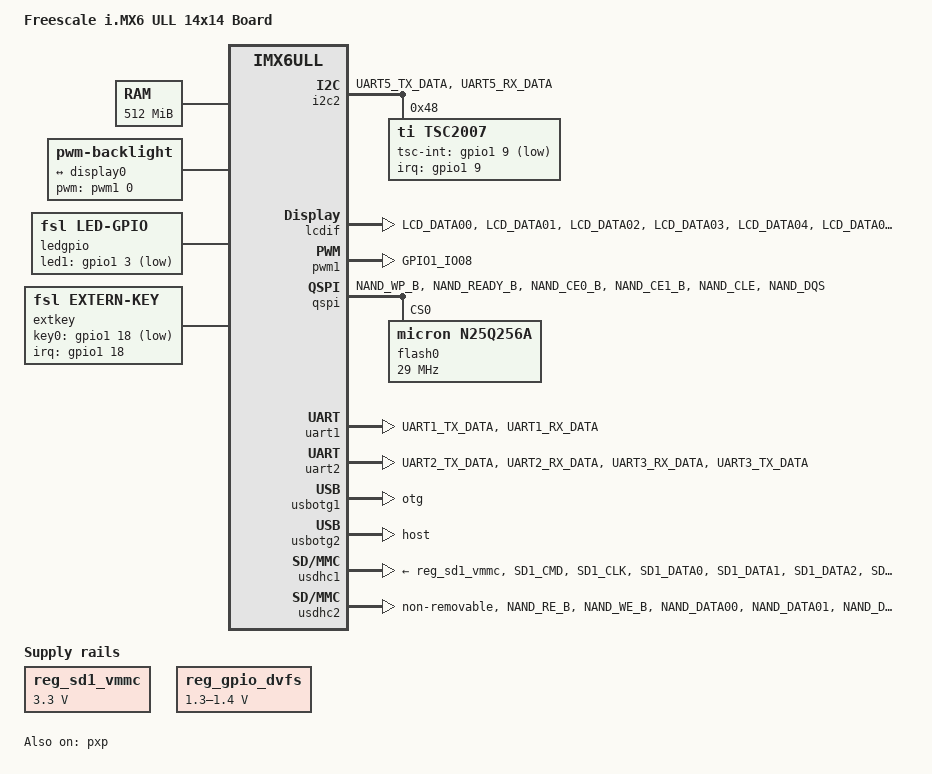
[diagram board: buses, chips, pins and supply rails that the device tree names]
/*
 * Copyright (C) 2016 Freescale Semiconductor, Inc.
 *
 * This program is free software; you can redistribute it and/or modify
 * it under the terms of the GNU General Public License version 2 as
 * published by the Free Software Foundation.
 *
 * modified by Yang Yujun <2024.05.19, for HeavenFox OS>
 */

/dts-v1/;

#include <dt-bindings/input/input.h>
#include "imx6ull.dtsi"

/ {
	model = "Freescale i.MX6 ULL 14x14 Board";
	compatible = "fsl,imx6ull-topeet", "fsl,imx6ull";

	chosen {
		stdout-path = &uart1;
	};

	memory {
		reg = <0x80000000 0x20000000>;
	};

	reserved-memory {
		#address-cells = <1>;
		#size-cells = <1>;
		ranges;

		linux,cma {
			compatible = "shared-dma-pool";
			reusable;
			size = <0x14000000>;
			linux,cma-default;
		};
	};

	regulators {
		compatible = "simple-bus";
		#address-cells = <1>;
		#size-cells = <0>;

		reg_sd1_vmmc: regulator@1 {
			compatible = "regulator-fixed";
			regulator-name = "VSD_3V3";
			regulator-min-microvolt = <3300000>;
			regulator-max-microvolt = <3300000>;
			/* gpio = <&gpio1 9 GPIO_ACTIVE_HIGH>; */
			enable-active-high;
		};

		reg_gpio_dvfs: regulator-gpio {
			compatible = "regulator-gpio";
			pinctrl-names = "default";
			pinctrl-0 = <&pinctrl_dvfs>;
			regulator-min-microvolt = <1300000>;
			regulator-max-microvolt = <1400000>;
			regulator-name = "gpio_dvfs";
			regulator-type = "voltage";
			gpios = <&gpio5 3 GPIO_ACTIVE_HIGH>;
			states = <1300000 0x1 1400000 0x0>;
		};
	};

	backlight {
		compatible = "pwm-backlight";
		pwms = <&pwm1 0 5000000>;
		brightness-levels = <0 4 8 16 32 64 128 255>;
		default-brightness-level = <6>;
		status = "okay";

		backlight0: backlight-gpio {
			compatible = "fsl,backlight-gpio";
			pinctrl-names = "default";
			pinctrl-0 = <&pinctrl_gpio_backlight>;
			backlight-gpios = <&gpio1 8 GPIO_ACTIVE_HIGH>;

			remote-endpoint = <&display0>;
		};
	};

    ledgpio {
        compatible = "fsl,led-gpio";
        pinctrl-names = "default";
        pinctrl-0 = <&pinctrl_ledgpio>;
        led1-gpios = <&gpio1 3 GPIO_ACTIVE_LOW>;

        status = "okay";
    };

    extkey {
        compatible = "fsl,extern-key";
        pinctrl-names = "default";
        pinctrl-0 = <&pinctrl_extkey>;
        interrupt-parent = <&gpio1>;
        interrupts = <18 IRQ_TYPE_EDGE_BOTH>;
        key0-gpios = <&gpio1 18 GPIO_ACTIVE_LOW>;
        
        status = "okay";
    };
};

&cpu0 {
	arm-supply = <&reg_arm>;
	soc-supply = <&reg_soc>;
	dc-supply = <&reg_gpio_dvfs>;
};

&clks {
	assigned-clocks = <&clks IMX6UL_CLK_PLL4_AUDIO_DIV>;
	assigned-clock-rates = <786432000>;
};

&gpc {
	fsl,cpu_pupscr_sw2iso = <0x1>;
	fsl,cpu_pupscr_sw = <0x0>;
	fsl,cpu_pdnscr_iso2sw = <0x1>;
	fsl,cpu_pdnscr_iso = <0x1>;
	fsl,ldo-bypass = <0>;
};

&i2c2 {
	clock_frequency = <100000>;
	pinctrl-names = "default";
	pinctrl-0 = <&pinctrl_i2c2>;
	status = "okay";

    tsc2007: tsc2007@48 {
        compatible = "ti,tsc2007";
		reg = <0x48>;
        pinctrl-names = "default";
        pinctrl-0 = <&pinctrl_tsc_int>;
        interrupt-parent = <&gpio1>;
        interrupts = <9 IRQ_TYPE_EDGE_BOTH>;
        tsc-int-gpios = <&gpio1 9 GPIO_ACTIVE_LOW>;
        ti,x-plate-ohms = <660>;
        status = "okay";
    };
};

&iomuxc {
	pinctrl-names = "default";
	pinctrl-0 = <&pinctrl_hog_1>;

	imx6ul-evk {
		pinctrl_hog_1: hoggrp-1 {
			fsl,pins = <
				MX6UL_PAD_UART1_RTS_B__GPIO1_IO19		0x17059 /* SD1 CD */
				MX6UL_PAD_GPIO1_IO05__USDHC1_VSELECT	0x17059 /* SD1 VSELECT */
				MX6UL_PAD_GPIO1_IO00__ANATOP_OTG1_ID    0x13058 /* USB_OTG1_ID */
			>;
		};

		pinctrl_gpio_backlight: gpio_backlightgrp {
			fsl,pins = <
				MX6UL_PAD_GPIO1_IO08__GPIO1_IO08		0x10B0
			>;
		};

        pinctrl_ledgpio: ledgpiogrp {
            fsl,pins = <
                MX6UL_PAD_GPIO1_IO03__GPIO1_IO03    	0x10B0
            >;
        };

        pinctrl_extkey: extkeygrp {
            fsl,pins = <
                MX6UL_PAD_UART1_CTS_B__GPIO1_IO18    	0xF080
            >;
        };

        pinctrl_tsc_int: tsc_intgrp {
            fsl,pins = <
                MX6UL_PAD_GPIO1_IO09__GPIO1_IO09    	0xF080
            >;
        };

		pinctrl_i2c1: i2c1grp {
			fsl,pins = <
				MX6UL_PAD_UART4_TX_DATA__I2C1_SCL 		0x4001b8b0
				MX6UL_PAD_UART4_RX_DATA__I2C1_SDA 		0x4001b8b0
			>;
		};

		pinctrl_i2c2: i2c2grp {
			fsl,pins = <
				MX6UL_PAD_UART5_TX_DATA__I2C2_SCL 		0x4001b8b0
				MX6UL_PAD_UART5_RX_DATA__I2C2_SDA 		0x4001b8b0
			>;
		};

		pinctrl_lcdif_dat: lcdifdatgrp {
			fsl,pins = <
				MX6UL_PAD_LCD_DATA00__LCDIF_DATA00  	0x79
				MX6UL_PAD_LCD_DATA01__LCDIF_DATA01  	0x79
				MX6UL_PAD_LCD_DATA02__LCDIF_DATA02  	0x79
				MX6UL_PAD_LCD_DATA03__LCDIF_DATA03  	0x79
				MX6UL_PAD_LCD_DATA04__LCDIF_DATA04  	0x79
				MX6UL_PAD_LCD_DATA05__LCDIF_DATA05  	0x79
				MX6UL_PAD_LCD_DATA06__LCDIF_DATA06  	0x79
				MX6UL_PAD_LCD_DATA07__LCDIF_DATA07  	0x79
				MX6UL_PAD_LCD_DATA08__LCDIF_DATA08  	0x79
				MX6UL_PAD_LCD_DATA09__LCDIF_DATA09  	0x79
				MX6UL_PAD_LCD_DATA10__LCDIF_DATA10  	0x79
				MX6UL_PAD_LCD_DATA11__LCDIF_DATA11  	0x79
				MX6UL_PAD_LCD_DATA12__LCDIF_DATA12  	0x79
				MX6UL_PAD_LCD_DATA13__LCDIF_DATA13  	0x79
				MX6UL_PAD_LCD_DATA14__LCDIF_DATA14  	0x79
				MX6UL_PAD_LCD_DATA15__LCDIF_DATA15  	0x79
				MX6UL_PAD_LCD_DATA16__LCDIF_DATA16  	0x79
				MX6UL_PAD_LCD_DATA17__LCDIF_DATA17  	0x79
				MX6UL_PAD_LCD_DATA18__LCDIF_DATA18  	0x79
				MX6UL_PAD_LCD_DATA19__LCDIF_DATA19  	0x79
				MX6UL_PAD_LCD_DATA20__LCDIF_DATA20  	0x79
				MX6UL_PAD_LCD_DATA21__LCDIF_DATA21  	0x79
				MX6UL_PAD_LCD_DATA22__LCDIF_DATA22  	0x79
				MX6UL_PAD_LCD_DATA23__LCDIF_DATA23  	0x79
			>;
		};

		pinctrl_lcdif_ctrl: lcdifctrlgrp {
			fsl,pins = <
				MX6UL_PAD_LCD_CLK__LCDIF_CLK	    	0x79
				MX6UL_PAD_LCD_ENABLE__LCDIF_ENABLE  	0x79
				MX6UL_PAD_LCD_HSYNC__LCDIF_HSYNC    	0x79
				MX6UL_PAD_LCD_VSYNC__LCDIF_VSYNC    	0x79
			>;
		};

		pinctrl_pwm1: pwm1grp {
			fsl,pins = <
				MX6UL_PAD_GPIO1_IO08__PWM1_OUT   		0x110b0
			>;
		};

		pinctrl_qspi: qspigrp {
			fsl,pins = <
				MX6UL_PAD_NAND_WP_B__QSPI_A_SCLK      	0x70a1
				MX6UL_PAD_NAND_READY_B__QSPI_A_DATA00 	0x70a1
				MX6UL_PAD_NAND_CE0_B__QSPI_A_DATA01   	0x70a1
				MX6UL_PAD_NAND_CE1_B__QSPI_A_DATA02   	0x70a1
				MX6UL_PAD_NAND_CLE__QSPI_A_DATA03     	0x70a1
				MX6UL_PAD_NAND_DQS__QSPI_A_SS0_B      	0x70a1
			>;
		};

		pinctrl_tsc: tscgrp {
			fsl,pins = <
				MX6UL_PAD_GPIO1_IO01__GPIO1_IO01		0xb0
				MX6UL_PAD_GPIO1_IO02__GPIO1_IO02		0xb0
				// MX6UL_PAD_GPIO1_IO03__GPIO1_IO03		0xb0
				MX6UL_PAD_GPIO1_IO04__GPIO1_IO04		0xb0
			>;
		};

		pinctrl_uart1: uart1grp {
			fsl,pins = <
				MX6UL_PAD_UART1_TX_DATA__UART1_DCE_TX 	0x1b0b1
				MX6UL_PAD_UART1_RX_DATA__UART1_DCE_RX 	0x1b0b1
			>;
		};

		pinctrl_uart2: uart2grp {
			fsl,pins = <
				MX6UL_PAD_UART2_TX_DATA__UART2_DCE_TX	0x1b0b1
				MX6UL_PAD_UART2_RX_DATA__UART2_DCE_RX	0x1b0b1
				MX6UL_PAD_UART3_RX_DATA__UART2_DCE_RTS	0x1b0b1
				MX6UL_PAD_UART3_TX_DATA__UART2_DCE_CTS	0x1b0b1
			>;
		};

		pinctrl_uart2dte: uart2dtegrp {
			fsl,pins = <
				MX6UL_PAD_UART2_TX_DATA__UART2_DTE_RX	0x1b0b1
				MX6UL_PAD_UART2_RX_DATA__UART2_DTE_TX	0x1b0b1
				MX6UL_PAD_UART3_RX_DATA__UART2_DTE_CTS	0x1b0b1
				MX6UL_PAD_UART3_TX_DATA__UART2_DTE_RTS	0x1b0b1
			>;
		};

		pinctrl_usdhc1: usdhc1grp {
			fsl,pins = <
				MX6UL_PAD_SD1_CMD__USDHC1_CMD     		0x17059
				MX6UL_PAD_SD1_CLK__USDHC1_CLK     		0x10071
				MX6UL_PAD_SD1_DATA0__USDHC1_DATA0 		0x17059
				MX6UL_PAD_SD1_DATA1__USDHC1_DATA1 		0x17059
				MX6UL_PAD_SD1_DATA2__USDHC1_DATA2 		0x17059
				MX6UL_PAD_SD1_DATA3__USDHC1_DATA3 		0x17059
			>;
		};

		pinctrl_usdhc1_100mhz: usdhc1grp100mhz {
			fsl,pins = <
				MX6UL_PAD_SD1_CMD__USDHC1_CMD     		0x170b9
				MX6UL_PAD_SD1_CLK__USDHC1_CLK     		0x100b9
				MX6UL_PAD_SD1_DATA0__USDHC1_DATA0 		0x170b9
				MX6UL_PAD_SD1_DATA1__USDHC1_DATA1 		0x170b9
				MX6UL_PAD_SD1_DATA2__USDHC1_DATA2 		0x170b9
				MX6UL_PAD_SD1_DATA3__USDHC1_DATA3 		0x170b9
			>;
		};

		pinctrl_usdhc1_200mhz: usdhc1grp200mhz {
			fsl,pins = <
				MX6UL_PAD_SD1_CMD__USDHC1_CMD     		0x170f9
				MX6UL_PAD_SD1_CLK__USDHC1_CLK     		0x100f9
				MX6UL_PAD_SD1_DATA0__USDHC1_DATA0 		0x170f9
				MX6UL_PAD_SD1_DATA1__USDHC1_DATA1 		0x170f9
				MX6UL_PAD_SD1_DATA2__USDHC1_DATA2 		0x170f9
				MX6UL_PAD_SD1_DATA3__USDHC1_DATA3 		0x170f9
			>;
		};

		pinctrl_usdhc2: usdhc2grp {
			fsl,pins = <
				MX6UL_PAD_NAND_RE_B__USDHC2_CLK     	0x10069
				MX6UL_PAD_NAND_WE_B__USDHC2_CMD     	0x17059
				MX6UL_PAD_NAND_DATA00__USDHC2_DATA0 	0x17059
				MX6UL_PAD_NAND_DATA01__USDHC2_DATA1 	0x17059
				MX6UL_PAD_NAND_DATA02__USDHC2_DATA2 	0x17059
				MX6UL_PAD_NAND_DATA03__USDHC2_DATA3 	0x17059
			>;
		};

		pinctrl_usdhc2_8bit: usdhc2grp_8bit {
			fsl,pins = <
				MX6UL_PAD_NAND_RE_B__USDHC2_CLK     	0x10069
				MX6UL_PAD_NAND_WE_B__USDHC2_CMD     	0x17059
				MX6UL_PAD_NAND_DATA00__USDHC2_DATA0 	0x17059
				MX6UL_PAD_NAND_DATA01__USDHC2_DATA1 	0x17059
				MX6UL_PAD_NAND_DATA02__USDHC2_DATA2 	0x17059
				MX6UL_PAD_NAND_DATA03__USDHC2_DATA3 	0x17059
				MX6UL_PAD_NAND_DATA04__USDHC2_DATA4 	0x17059
				MX6UL_PAD_NAND_DATA05__USDHC2_DATA5 	0x17059
				MX6UL_PAD_NAND_DATA06__USDHC2_DATA6 	0x17059
				MX6UL_PAD_NAND_DATA07__USDHC2_DATA7 	0x17059
			>;
		};

		pinctrl_usdhc2_8bit_100mhz: usdhc2grp_8bit_100mhz {
			fsl,pins = <
				MX6UL_PAD_NAND_RE_B__USDHC2_CLK     	0x100b9
				MX6UL_PAD_NAND_WE_B__USDHC2_CMD     	0x170b9
				MX6UL_PAD_NAND_DATA00__USDHC2_DATA0 	0x170b9
				MX6UL_PAD_NAND_DATA01__USDHC2_DATA1 	0x170b9
				MX6UL_PAD_NAND_DATA02__USDHC2_DATA2 	0x170b9
				MX6UL_PAD_NAND_DATA03__USDHC2_DATA3 	0x170b9
				MX6UL_PAD_NAND_DATA04__USDHC2_DATA4 	0x170b9
				MX6UL_PAD_NAND_DATA05__USDHC2_DATA5 	0x170b9
				MX6UL_PAD_NAND_DATA06__USDHC2_DATA6 	0x170b9
				MX6UL_PAD_NAND_DATA07__USDHC2_DATA7 	0x170b9
			>;
		};

		pinctrl_usdhc2_8bit_200mhz: usdhc2grp_8bit_200mhz {
			fsl,pins = <
				MX6UL_PAD_NAND_RE_B__USDHC2_CLK     	0x100f9
				MX6UL_PAD_NAND_WE_B__USDHC2_CMD     	0x170f9
				MX6UL_PAD_NAND_DATA00__USDHC2_DATA0 	0x170f9
				MX6UL_PAD_NAND_DATA01__USDHC2_DATA1 	0x170f9
				MX6UL_PAD_NAND_DATA02__USDHC2_DATA2 	0x170f9
				MX6UL_PAD_NAND_DATA03__USDHC2_DATA3 	0x170f9
				MX6UL_PAD_NAND_DATA04__USDHC2_DATA4 	0x170f9
				MX6UL_PAD_NAND_DATA05__USDHC2_DATA5 	0x170f9
				MX6UL_PAD_NAND_DATA06__USDHC2_DATA6 	0x170f9
				MX6UL_PAD_NAND_DATA07__USDHC2_DATA7 	0x170f9
			>;
		};

		pinctrl_wdog: wdoggrp {
			fsl,pins = <
				MX6UL_PAD_LCD_RESET__WDOG1_WDOG_ANY    	0x30b0
			>;
		};
	};
};

&iomuxc_snvs {
	pinctrl-names = "default_snvs";
    pinctrl-0 = <&pinctrl_hog_2>;

    imx6ul-evk {
		pinctrl_hog_2: hoggrp-2 {
			fsl,pins = <
				MX6ULL_PAD_SNVS_TAMPER0__GPIO5_IO00		0x80000000
			>;
        };

		pinctrl_dvfs: dvfsgrp {
			fsl,pins = <
				MX6ULL_PAD_SNVS_TAMPER3__GPIO5_IO03		0x79
			>;
		};
		
		pinctrl_lcdif_reset: lcdifresetgrp {
			fsl,pins = <
				/* used for lcd reset */
				MX6ULL_PAD_SNVS_TAMPER9__GPIO5_IO09  	0x79
			>;
		};

	};
};

&lcdif {
	pinctrl-names = "default";
	pinctrl-0 = <&pinctrl_lcdif_dat
		     &pinctrl_lcdif_ctrl
		     &pinctrl_lcdif_reset>;
	display = <&display0>;
	status = "okay";

	display0: display {
		bits-per-pixel = <16>;
		bus-width = <24>;

		remote-endpoint = <&backlight0>;
		backlight-ways = "gpio";

		display-timings {
			native-mode = <&timing0>;
			timing0: timing0 {
				clock-frequency = <9200000>;
				hactive = <480>;
				vactive = <272>;
				hfront-porch = <8>;
				hback-porch = <4>;
				hsync-len = <41>;
				vback-porch = <2>;
				vfront-porch = <4>;
				vsync-len = <10>;

				hsync-active = <0>;
				vsync-active = <0>;
				de-active = <1>;
				pixelclk-active = <0>;
			};
		};
	};
};

&pwm1 {
	pinctrl-names = "default";
	pinctrl-0 = <&pinctrl_pwm1>;
	status = "okay";
};

&pxp {
	status = "okay";
};

&qspi {
	pinctrl-names = "default";
	pinctrl-0 = <&pinctrl_qspi>;
	status = "okay";
	ddrsmp=<0>;

	flash0: n25q256a@0 {
		#address-cells = <1>;
		#size-cells = <1>;
		compatible = "micron,n25q256a";
		spi-max-frequency = <29000000>;
		spi-nor,ddr-quad-read-dummy = <6>;
		reg = <0>;
	};
};

&uart1 {
	pinctrl-names = "default";
	pinctrl-0 = <&pinctrl_uart1>;
	status = "okay";
};

&uart2 {
	pinctrl-names = "default";
	pinctrl-0 = <&pinctrl_uart2>;
	fsl,uart-has-rtscts;
	/* for DTE mode, add below change */
	/* fsl,dte-mode; */
	/* pinctrl-0 = <&pinctrl_uart2dte>; */
	status = "okay";
};

&usbotg1 {
	dr_mode = "otg";
	srp-disable;
	hnp-disable;
	adp-disable;
	status = "okay";
};

&usbotg2 {
	dr_mode = "host";
	disable-over-current;
	status = "okay";
};

&usbphy1 {
	tx-d-cal = <0x5>;
};

&usbphy2 {
	tx-d-cal = <0x5>;
};

&usdhc1 {
	pinctrl-names = "default", "state_100mhz", "state_200mhz";
	pinctrl-0 = <&pinctrl_usdhc1>;
	pinctrl-1 = <&pinctrl_usdhc1_100mhz>;
	pinctrl-2 = <&pinctrl_usdhc1_200mhz>;
	cd-gpios = <&gpio1 19 GPIO_ACTIVE_LOW>;
	keep-power-in-suspend;
	enable-sdio-wakeup;
	vmmc-supply = <&reg_sd1_vmmc>;
	status = "okay";
};

&usdhc2 {
	pinctrl-names = "default", "state_100mhz", "state_200mhz";
	pinctrl-0 = <&pinctrl_usdhc2>;
	pinctrl-1 = <&pinctrl_usdhc2_8bit_100mhz>;
	pinctrl-2 = <&pinctrl_usdhc2_8bit_200mhz>;

	non-removable;
	status = "okay";
};

&wdog1 {
	pinctrl-names = "default";
	pinctrl-0 = <&pinctrl_wdog>;
	fsl,wdog_b;
};
